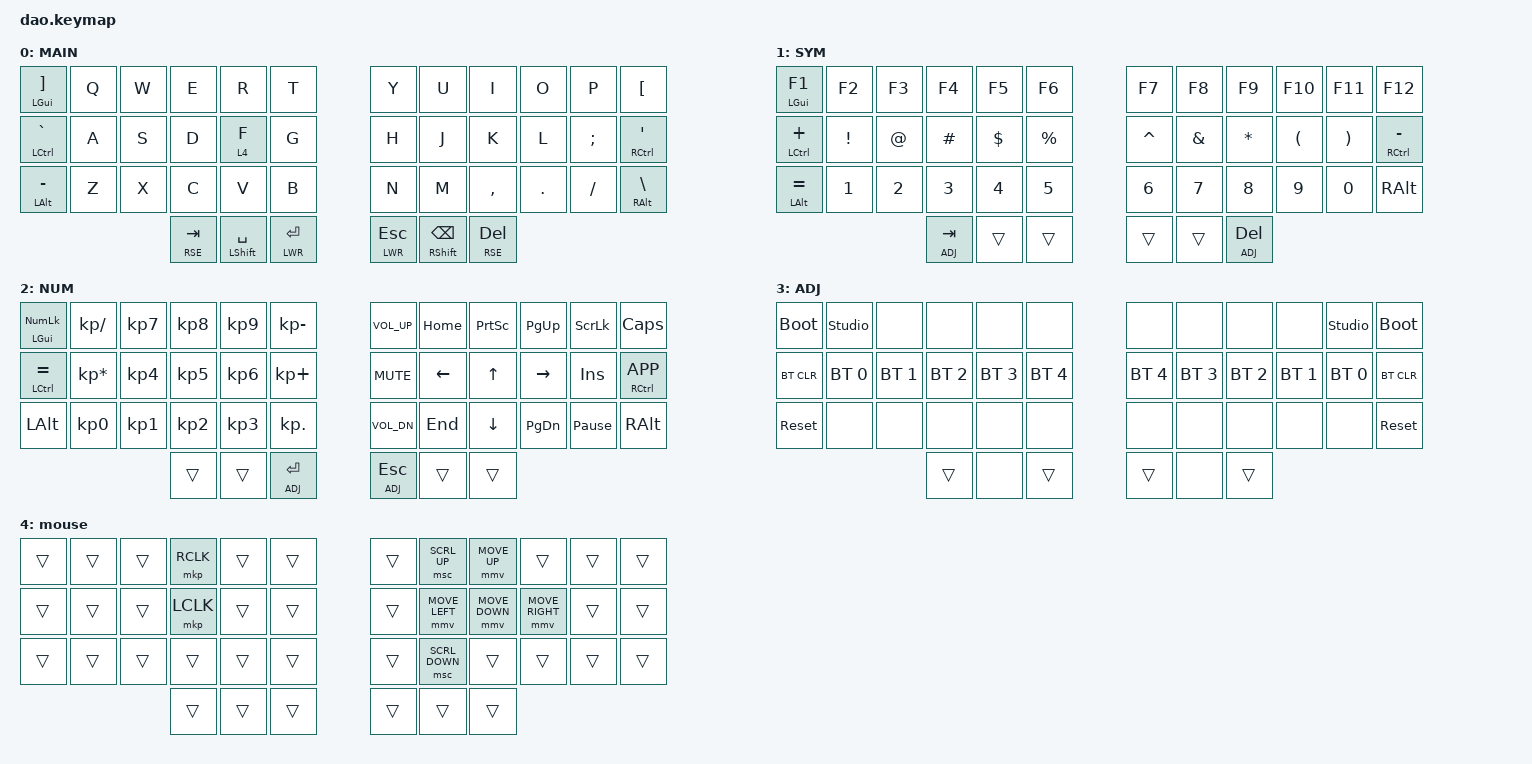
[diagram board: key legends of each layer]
/*
 * Copyright (c) 2021 Rafael Yumagulov
 *
 * SPDX-License-Identifier: MIT
 */

#include <behaviors.dtsi>
#include <dt-bindings/zmk/bt.h>
#include <dt-bindings/zmk/keys.h>


#define ZMK_POINTING_DEFAULT_MOVE_VAL 1500  // default: 600
#define ZMK_POINTING_DEFAULT_SCRL_VAL 20    // default: 10

#include <dt-bindings/zmk/pointing.h>

#define DEF 0
#define LWR 1
#define RSE 2
#define ADJ 3

&lt { quick_tap_ms = <200>; };

&mt { quick_tap_ms = <200>; };

/ {
    chosen {
        zmk,physical_layout = &dao_crkbd_layout;

        // zmk,physical_layout = &dao_full_layout;
    };
};

/ {
    combos {
        compatible = "zmk,combos";

        cmd_combp {
            bindings = <&kp LEFT_GUI>;
            key-positions = <19 20>;
            layers = <0>;
        };
    };

    keymap {
        compatible = "zmk,keymap";

        default_layer {
            display-name = "MAIN";
            bindings = <
  &mt LGUI RBKT    &kp Q  &kp W  &kp E        &kp R            &kp T          &kp Y        &kp U           &kp I        &kp O    &kp P     &kp LBKT
  &mt LCTRL GRAVE  &kp A  &kp S  &kp D        &lt 4 F          &kp G          &kp H        &kp J           &kp K        &kp L    &kp SEMI  &mt RCTRL SQT
  &mt LALT MINUS   &kp Z  &kp X  &kp C        &kp V            &kp B          &kp N        &kp M           &kp COMMA    &kp DOT  &kp FSLH  &mt RALT BSLH
                                 &lt RSE TAB  &mt LSHFT SPACE  &lt LWR RET    &lt LWR ESC  &mt RSHFT BSPC  &lt RSE DEL
            >;
        };

        lower_layer {
            display-name = "SYM";
            bindings = <
  &mt LGUI F1     &kp F2    &kp F3  &kp F4       &kp F5    &kp F6       &kp F7     &kp F8    &kp F9       &kp F10   &kp F11   &kp F12
  &mt LCTRL PLUS  &kp EXCL  &kp AT  &kp HASH     &kp DLLR  &kp PRCNT    &kp CARET  &kp AMPS  &kp STAR     &kp LPAR  &kp RPAR  &mt RCTRL MINUS
  &mt LALT EQUAL  &kp N1    &kp N2  &kp N3       &kp N4    &kp N5       &kp N6     &kp N7    &kp N8       &kp N9    &kp N0    &kp RALT
                                    &lt ADJ TAB  &trans    &trans       &trans     &trans    &lt ADJ DEL
            >;
        };

        raise_layer {
            display-name = "NUM";
            bindings = <
  &mt LGUI KP_NUM  &kp KP_SLASH     &kp KP_N7  &kp KP_N8  &kp KP_N9  &kp KP_MINUS    &kp C_VOL_UP  &kp HOME  &kp PSCRN  &kp PG_UP  &kp SLCK         &kp CLCK
  &mt LCTRL EQUAL  &kp KP_MULTIPLY  &kp KP_N4  &kp KP_N5  &kp KP_N6  &kp KP_PLUS     &kp C_MUTE    &kp LEFT  &kp UP     &kp RIGHT  &kp INS          &mt RCTRL K_APP
  &kp LALT         &kp KP_N0        &kp KP_N1  &kp KP_N2  &kp KP_N3  &kp KP_DOT      &kp C_VOL_DN  &kp END   &kp DOWN   &kp PG_DN  &kp PAUSE_BREAK  &kp RALT
                                               &trans     &trans     &lt ADJ RET     &lt ADJ ESC   &trans    &trans
            >;
        };

        adjust_layer {
            display-name = "ADJ";
            bindings = <
  &bootloader  &studio_unlock  &none         &none         &none         &none           &none         &none         &none         &none         &studio_unlock  &bootloader
  &bt BT_CLR   &bt BT_SEL 0    &bt BT_SEL 1  &bt BT_SEL 2  &bt BT_SEL 3  &bt BT_SEL 4    &bt BT_SEL 4  &bt BT_SEL 3  &bt BT_SEL 2  &bt BT_SEL 1  &bt BT_SEL 0    &bt BT_CLR
  &sys_reset   &none           &none         &none         &none         &none           &none         &none         &none         &none         &none           &sys_reset
                                             &trans        &none         &trans          &trans        &none         &trans
            >;
        };

        mouse {
            bindings = <
  &trans  &trans  &trans  &mkp RCLK  &trans  &trans    &trans  &msc SCRL_UP    &mmv MOVE_UP    &trans           &trans  &trans
  &trans  &trans  &trans  &mkp LCLK  &trans  &trans    &trans  &mmv MOVE_LEFT  &mmv MOVE_DOWN  &mmv MOVE_RIGHT  &trans  &trans
  &trans  &trans  &trans  &trans     &trans  &trans    &trans  &msc SCRL_DOWN  &trans          &trans           &trans  &trans
                          &trans     &trans  &trans    &trans  &trans          &trans
            >;
        };
    };
};
